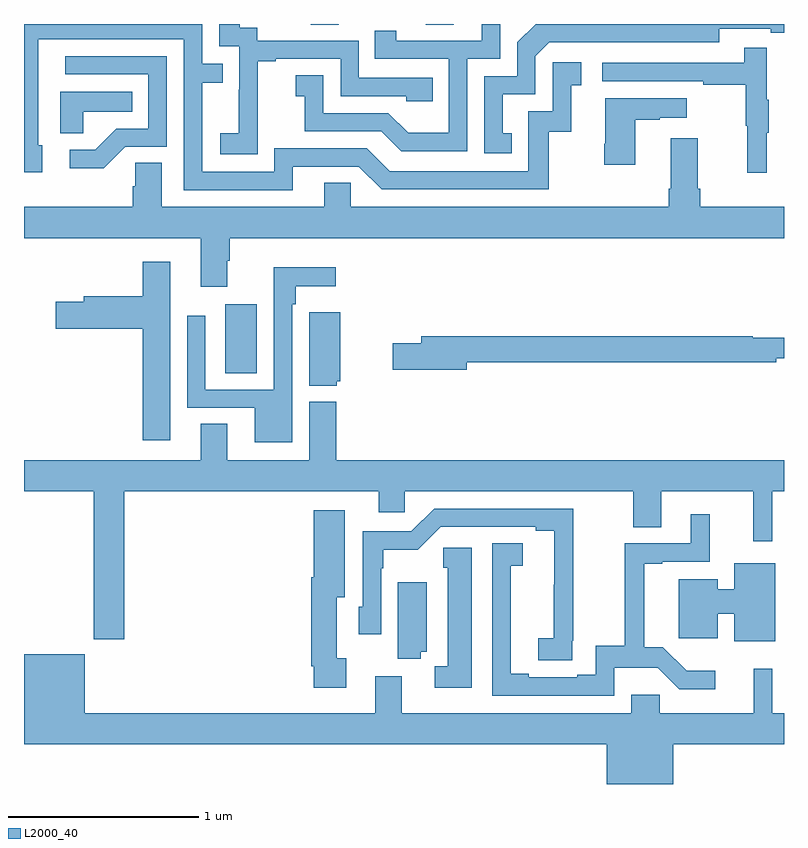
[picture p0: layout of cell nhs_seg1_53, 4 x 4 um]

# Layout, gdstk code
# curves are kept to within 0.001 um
import gdstk
lib = gdstk.Library(unit=1e-6, precision=1e-09)
def R(c, l, rs):  # rectangles x0, y0, x1, y1
    for r in rs: c.add(gdstk.rectangle(r[:2], r[2:], *l))
def P(c, l, *ps):  # polygons
    for p in ps: c.add(gdstk.Polygon(p, *l))
L2000_40 = (2000, 40)

nhs_seg1_53 = lib.new_cell('nhs_seg1_53')
R(nhs_seg1_53, L2000_40, [(114.059,544.36,114.226,544.723), (114.509,546.196,114.657,546.199), (115.114,546.196,115.261,546.199)])
P(nhs_seg1_53, L2000_40, [(115.568,545.625),(115.519,545.625),(115.519,545.829),(115.692,545.829),(115.692,546.03),(115.764,546.102),(116.658,546.102),(116.658,546.174),(116.93,546.174),(116.93,546.154),(117,546.154),(117,546.199),(115.693,546.199),(115.596,546.102),(115.596,545.925),(115.422,545.925),(115.422,545.52),(115.568,545.52)],
  [(115.332,546.015),(115.506,546.015),(115.506,546.199),(115.409,546.199),(115.409,546.111),(114.958,546.111),(114.958,546.163),(114.847,546.163),(114.847,546.015),(115.236,546.015),(115.236,545.626),(115.022,545.626),(114.918,545.73),(114.576,545.73),(114.576,545.929),(114.429,545.929),(114.429,545.819),(114.478,545.819),(114.478,545.634),(114.881,545.634),(114.986,545.529),(115.332,545.529)],
  [(114.415,545.448),(114.762,545.448),(114.882,545.328),(115.762,545.328),(115.762,545.631),(115.88,545.631),(115.88,545.877),(115.933,545.877),(115.933,545.998),(115.782,545.998),(115.782,545.739),(115.653,545.739),(115.653,545.424),(114.924,545.424),(114.804,545.544),(114.318,545.544),(114.318,545.421),(113.937,545.421),(113.937,545.89),(114.047,545.89),(114.047,545.991),(113.937,545.991),(113.937,546.199),(113,546.199),(113,545.418),(113.095,545.418),(113.095,545.562),(113.076,545.562),(113.076,546.12),(113.841,546.12),(113.841,545.325),(114.415,545.325)],
  [(114.231,545.719),(114.23,545.719),(114.23,546.003),(114.325,546.003),(114.325,546.015),(114.666,546.015),(114.666,545.82),(115.011,545.82),(115.011,545.793),(115.151,545.793),(115.151,545.916),(114.762,545.916),(114.762,546.111),(114.228,546.111),(114.228,546.18),(114.136,546.18),(114.136,546.199),(114.027,546.199),(114.027,546.081),(114.132,546.081),(114.132,545.852),(114.131,545.852),(114.131,545.623),(114.033,545.623),(114.033,545.513),(114.231,545.513)],
  [(116.909,545.627),(116.92,545.627),(116.92,545.801),(116.909,545.801),(116.909,546.073),(116.791,546.073),(116.791,545.994),(116.043,545.994),(116.043,545.898),(116.575,545.898),(116.575,545.878),(116.799,545.878),(116.799,545.664),(116.806,545.664),(116.806,545.415),(116.909,545.415)],
  [(113.532,545.553),(113.751,545.553),(113.751,546.03),(113.217,546.03),(113.217,545.934),(113.655,545.934),(113.655,545.649),(113.486,545.649),(113.375,545.538),(113.241,545.538),(113.241,545.441),(113.419,545.441)],
  [(113.313,545.738),(113.57,545.738),(113.57,545.842),(113.192,545.842),(113.192,545.623),(113.313,545.623)],
  [(116.218,545.695),(116.345,545.695),(116.345,545.705),(116.488,545.705),(116.488,545.809),(116.06,545.809),(116.06,545.569),(116.053,545.569),(116.053,545.457),(116.218,545.457)],
  [(114.07,544.952),(114.083,544.952),(114.083,545.072),(117,545.072),(117,545.236),(116.558,545.236),(116.558,545.332),(116.545,545.332),(116.545,545.599),(116.405,545.599),(116.405,545.332),(116.393,545.332),(116.393,545.236),(114.72,545.236),(114.72,545.363),(114.581,545.363),(114.581,545.236),(113.725,545.236),(113.725,545.468),(113.586,545.468),(113.586,545.345),(113.573,545.345),(113.573,545.236),(113,545.236),(113,545.072),(113.93,545.072),(113.93,544.815),(114.07,544.815)],
  [(113.77,544.948),(113.624,544.948),(113.624,544.767),(113.315,544.767),(113.315,544.737),(113.166,544.737),(113.166,544.595),(113.624,544.595),(113.624,544.008),(113.77,544.008)],
  [(114.411,544.724),(114.431,544.724),(114.431,544.82),(114.64,544.82),(114.64,544.918),(114.315,544.918),(114.315,544.275),(113.955,544.275),(113.955,544.663),(113.859,544.663),(113.859,544.179),(114.215,544.179),(114.215,543.998),(114.411,543.998)],
  [(114.645,544.32),(114.664,544.32),(114.664,544.681),(114.5,544.681),(114.5,544.295),(114.645,544.295)],
  [(115.33,544.42),(116.96,544.42),(116.96,544.439),(117,544.439),(117,544.549),(116.836,544.549),(116.836,544.556),(115.091,544.556),(115.091,544.52),(114.942,544.52),(114.942,544.378),(115.33,544.378)],
  [(113.528,543.74),(114.866,543.74),(114.866,543.63),(115.005,543.63),(115.005,543.74),(116.206,543.74),(116.206,543.55),(116.353,543.55),(116.353,543.74),(116.839,543.74),(116.839,543.477),(116.938,543.477),(116.938,543.74),(117,543.74),(117,543.904),(114.644,543.904),(114.644,544.21),(114.5,544.21),(114.5,543.904),(114.07,543.904),(114.07,544.094),(113.93,544.094),(113.93,543.904),(113,543.904),(113,543.74),(113.368,543.74),(113.368,542.961),(113.528,542.961)],
  [(115.886,542.953),(115.892,542.953),(115.892,543.648),(115.158,543.648),(115.038,543.528),(114.783,543.528),(114.783,543.132),(114.762,543.132),(114.762,542.988),(114.879,542.988),(114.879,543.335),(114.892,543.335),(114.892,543.431),(115.073,543.431),(115.194,543.552),(115.694,543.552),(115.694,543.532),(115.79,543.532),(115.789,542.966),(115.707,542.966),(115.707,542.851),(115.886,542.851)],
  [(114.697,542.862),(114.646,542.862),(114.646,543.182),(114.688,543.182),(114.688,543.64),(114.524,543.64),(114.524,543.286),(114.512,543.286),(114.512,542.818),(114.524,542.818),(114.524,542.706),(114.697,542.706)],
  [(116.106,542.81),(116.335,542.81),(116.448,542.697),(116.638,542.697),(116.638,542.794),(116.489,542.794),(116.363,542.92),(116.264,542.92),(116.264,543.357),(116.359,543.357),(116.359,543.369),(116.61,543.369),(116.61,543.619),(116.51,543.619),(116.51,543.465),(116.161,543.465),(116.161,542.927),(116.01,542.927),(116.01,542.774),(115.913,542.774),(115.913,542.76),(115.657,542.76),(115.657,542.78),(115.561,542.78),(115.561,543.043),(115.563,543.043),(115.563,543.347),(115.624,543.347),(115.624,543.467),(115.464,543.467),(115.464,542.664),(116.106,542.664)],
  [(115.357,543.442),(115.207,543.442),(115.207,543.336),(115.229,543.336),(115.229,542.82),(115.161,542.82),(115.161,542.705),(115.357,542.705)],
  [(116.953,543.361),(116.738,543.361),(116.738,543.224),(116.65,543.224),(116.65,543.277),(116.447,543.277),(116.447,542.967),(116.65,542.967),(116.65,543.096),(116.738,543.096),(116.738,542.951),(116.953,542.951)],
  [(115.088,542.894),(115.12,542.894),(115.12,543.262),(114.968,543.262),(114.968,542.857),(115.088,542.857)],
  [(116.416,542.408),(117,542.408),(117,542.572),(116.939,542.572),(116.939,542.806),(116.84,542.806),(116.84,542.572),(116.347,542.572),(116.347,542.67),(116.195,542.67),(116.195,542.572),(114.988,542.572),(114.988,542.767),(114.848,542.767),(114.848,542.572),(113.32,542.572),(113.32,542.881),(113,542.881),(113,542.408),(116.066,542.408),(116.066,542.199),(116.416,542.199)])

lib.write_gds('nhs_seg1_53.gds')
